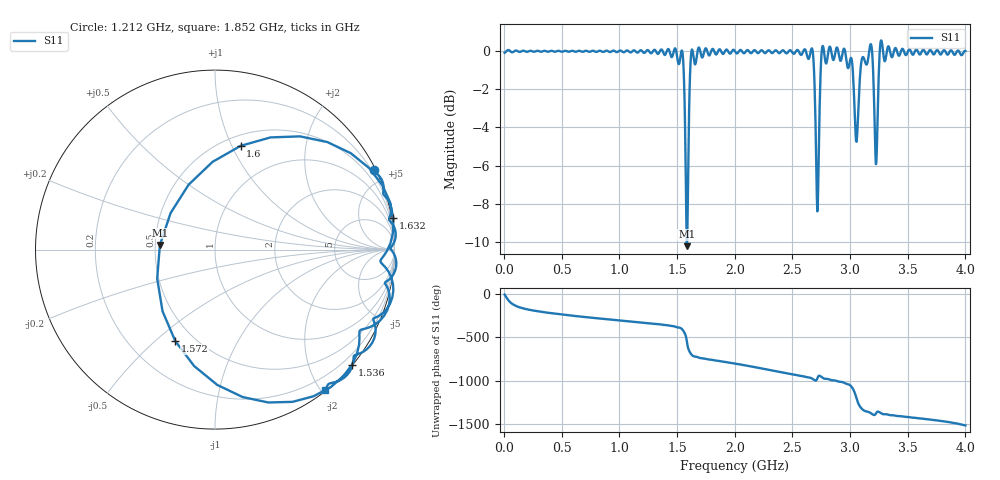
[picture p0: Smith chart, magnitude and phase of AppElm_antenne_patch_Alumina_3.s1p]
! TOUCHSTONE file generated by CST MICROWAVE STUDIO
! Date and time: Thu Jun  9 07:39:56 2022
! Project name: AppElm_antenne_patch_Alumina.cst
! Parameters = {L=30.5; W=35.53; e=0.035; h=1.6; lambda=0.190476; ls=90; w0=1.12; w1=0.373; ws=90; y0=14; y1=10}
! Header version: 2018
! Port assignment regex: !\s*Touchstone port\s*([0-9]+)\s*=\s*(CST MWS port|CST DS port)\s*([0-9]+|Zmin|Zmax)\s*\(\"(.*)\"\)(\s*mode\s*([0-9]+))?.*
! Touchstone port assignment:
! Touchstone port 1 = CST MWS port 1 ("")
# GHz S MA R 50
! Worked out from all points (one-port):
!   1000 points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, 4 MHz to 4 GHz, reference 50 ohm
!   lowest |S11| = -10.2 dB at 1.584 GHz (marker M1), VSWR 1.89, Z = 26.5 + j1.51 ohm
!   |S11| at or under -10 dB: 1.583334 GHz to 1.586612 GHz (3.278 MHz wide, 0.207 % of centre)
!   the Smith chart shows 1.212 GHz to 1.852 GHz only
!   S11 on the Smith chart (normalised r, x): 1.212 GHz: 0.09, +4.24; 1.536 GHz: 0.01, -2.74; 1.572 GHz: 0.39, -0.58; 1.6 GHz: 0.60, +1.08; 1.632 GHz: -1, +11; 1.852 GHz: 0.01, -2.06
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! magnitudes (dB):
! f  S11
! 4 MHz  -0.1
! 504 MHz  0.0
! 1.004 GHz  0.0
! 1.212 GHz  -0.1
! 1.504 GHz  -0.4
! 1.536 GHz  0.0
! 1.552 GHz  -0.4
! 1.572 GHz  -5.1
! 1.584 GHz  -10.2
! 1.6 GHz  -4.5
! 1.616 GHz  -0.7
! 1.632 GHz  0.1
! 1.852 GHz  0.0
! 2.004 GHz  0.0
! 2.504 GHz  -0.1
! 2.668 GHz  0.2
! 2.68 GHz  -0.2
! 2.704 GHz  -5.0
! 2.716 GHz  -8.4
! 2.764 GHz  0.3
! 3.004 GHz  -0.4
! 3.056 GHz  -4.8
! 3.104 GHz  -0.4
! 3.18 GHz  0.4
! 3.224 GHz  -5.9
! 3.272 GHz  0.6
! 3.504 GHz  0.0
! 4 GHz  0.0
